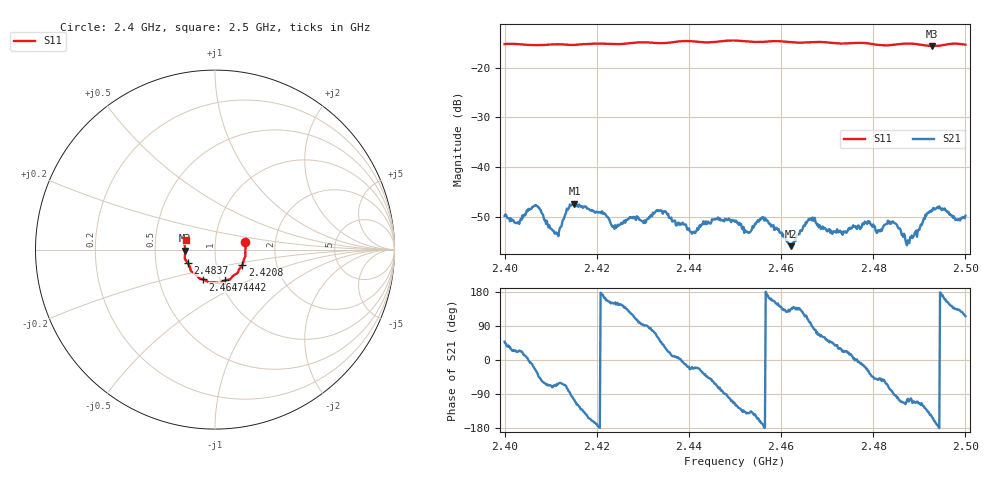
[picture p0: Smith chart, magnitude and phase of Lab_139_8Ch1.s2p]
# Hz S RI R 50
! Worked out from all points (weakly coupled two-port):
!   601 points, 2.4 GHz to 2.5 GHz, reference 50 ohm
!   highest |S21| = -47.38 dB at 2.4152 GHz (marker M1); lowest = -55.9 dB at 2.4622 GHz (marker M2)
!   lowest |S11| = -15.6 dB at 2.4928 GHz (marker M3), VSWR 1.40, Z = 35.8 - j0.375 ohm
!   |S11| at or under -10 dB: start of sweep to end of sweep
!   S12 and S22 are empty: the file has one direction only
!   S11 on the Smith chart (normalised r, x): 2.4 GHz: 1.40, +0.12; 2.4208 GHz: 1.33, -0.24; 2.4442 GHz: 1.05, -0.37; 2.4647 GHz: 0.83, -0.29; 2.4837 GHz: 0.73, -0.11; 2.5 GHz: 0.72, +0.08
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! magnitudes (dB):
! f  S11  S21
! 2.4 GHz  -15.2  -49.8
! 2.407 GHz  -15.4  -47.8
! 2.4113 GHz  -15.2  -53.5
! 2.4152 GHz  -15.4  -47.4
! 2.4167 GHz  -15.3  -47.9
! 2.4208 GHz  -15.1  -49.0
! 2.424 GHz  -15.2  -51.7
! 2.4333 GHz  -15.0  -48.7
! 2.4408 GHz  -14.6  -53.2
! 2.4442 GHz  -14.9  -51.0
! 2.45 GHz  -14.5  -51.0
! 2.4528 GHz  -14.7  -53.1
! 2.4563 GHz  -14.7  -50.8
! 2.4622 GHz  -14.8  -55.9
! 2.4647 GHz  -14.9  -52.5
! 2.4667 GHz  -14.8  -50.7
! 2.4715 GHz  -15.0  -52.9
! 2.4833 GHz  -15.5  -50.9
! 2.4837 GHz  -15.4  -51.0
! 2.4875 GHz  -15.1  -54.8
! 2.4928 GHz  -15.6  -48.8
! 2.5 GHz  -15.3  -49.8
